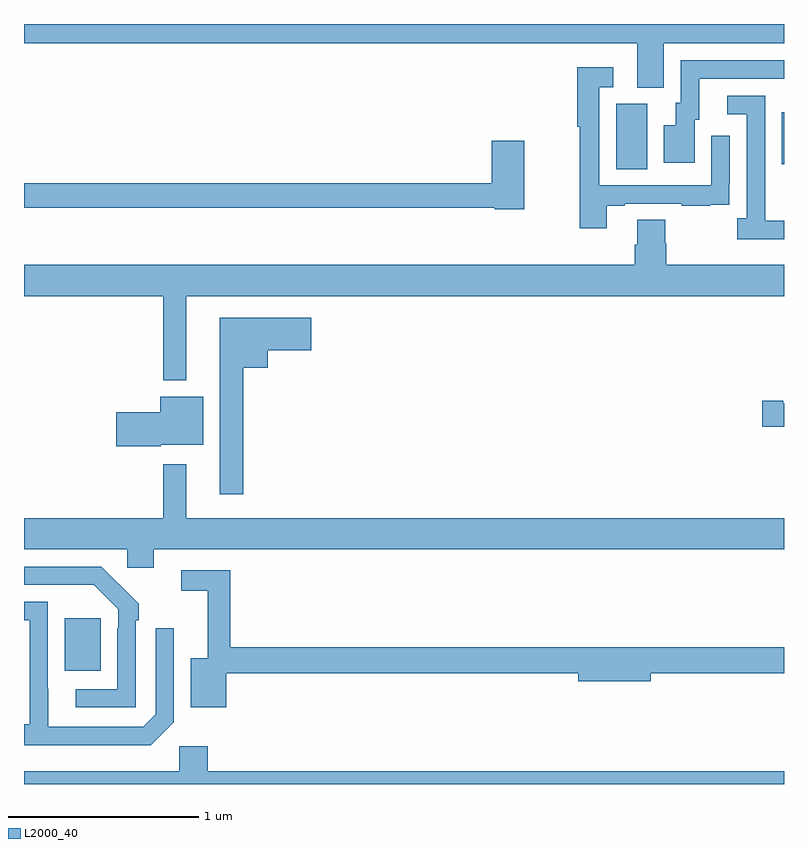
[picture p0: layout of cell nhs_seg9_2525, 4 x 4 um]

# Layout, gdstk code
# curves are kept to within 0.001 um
import gdstk
lib = gdstk.Library(unit=1e-6, precision=1e-09)
def R(c, l, rs):  # rectangles x0, y0, x1, y1
    for r in rs: c.add(gdstk.rectangle(r[:2], r[2:], *l))
def P(c, l, *ps):  # polygons
    for p in ps: c.add(gdstk.Polygon(p, *l))
L2000_40 = (2000, 40)

nhs_seg9_2525 = lib.new_cell('nhs_seg9_2525')
R(nhs_seg9_2525, L2000_40, [(255.215,1213.097,255.403,1213.372), (258.116,1215.736,258.28,1216.08), (258.989,1215.761,259,1216.036)])
P(nhs_seg9_2525, L2000_40, [(258.367,1216.4),(259,1216.4),(259,1216.5),(255,1216.5),(255,1216.4),(258.227,1216.4),(258.227,1216.165),(258.367,1216.165)],
  [(258.529,1215.996),(258.553,1215.996),(258.553,1216.212),(259,1216.212),(259,1216.308),(258.456,1216.308),(258.456,1216.086),(258.431,1216.086),(258.431,1215.967),(258.368,1215.967),(258.368,1215.771),(258.529,1215.771)],
  [(258.067,1215.543),(258.163,1215.543),(258.163,1215.555),(258.463,1215.555),(258.463,1215.543),(258.611,1215.543),(258.611,1215.549),(258.713,1215.549),(258.713,1215.658),(258.714,1215.658),(258.714,1215.913),(258.618,1215.913),(258.618,1215.651),(258.027,1215.651),(258.027,1216.167),(258.1,1216.167),(258.1,1216.273),(257.911,1216.273),(257.911,1215.96),(257.926,1215.96),(257.926,1215.426),(258.067,1215.426)],
  [(259,1215.465),(258.901,1215.465),(258.901,1215.665),(258.9,1215.665),(258.9,1216.122),(258.702,1216.122),(258.702,1216.026),(258.804,1216.026),(258.804,1215.478),(258.753,1215.478),(258.753,1215.368),(259,1215.368)],
  [(257.632,1215.886),(257.462,1215.886),(257.462,1215.662),(255,1215.662),(255,1215.534),(257.478,1215.534),(257.478,1215.526),(257.632,1215.526)],
  [(255.853,1215.068),(259,1215.068),(259,1215.232),(258.38,1215.232),(258.38,1215.345),(258.375,1215.345),(258.375,1215.47),(258.227,1215.47),(258.227,1215.338),(258.215,1215.338),(258.215,1215.232),(255,1215.232),(255,1215.068),(255.732,1215.068),(255.732,1214.624),(255.853,1214.624)],
  [(256.153,1214.69),(256.282,1214.69),(256.282,1214.783),(256.513,1214.783),(256.513,1214.953),(256.031,1214.953),(256.031,1214.025),(256.153,1214.025)],
  [(255.72,1214.285),(255.943,1214.285),(255.943,1214.539),(255.716,1214.539),(255.716,1214.456),(255.486,1214.456),(255.486,1214.278),(255.72,1214.278)],
  [(259,1214.503),(258.997,1214.503),(258.997,1214.516),(258.885,1214.516),(258.885,1214.381),(259,1214.381)],
  [(259,1213.9),(255.853,1213.9),(255.853,1214.182),(255.732,1214.182),(255.732,1213.9),(255,1213.9),(255,1213.736),(255.543,1213.736),(255.543,1213.638),(255.682,1213.638),(255.682,1213.736),(259,1213.736)],
  [(255.588,1213.361),(255.603,1213.361),(255.603,1213.449),(255.406,1213.644),(255,1213.644),(255,1213.548),(255.367,1213.548),(255.495,1213.419),(255.495,1213.319),(255.492,1213.319),(255.492,1212.999),(255.273,1212.999),(255.273,1212.903),(255.588,1212.903)],
  [(256.065,1213.084),(257.918,1213.084),(257.918,1213.042),(258.298,1213.042),(258.298,1213.084),(259,1213.084),(259,1213.22),(256.085,1213.22),(256.085,1213.626),(255.828,1213.626),(255.828,1213.518),(255.968,1213.518),(255.968,1213.162),(255.878,1213.162),(255.878,1212.905),(256.065,1212.905)],
  [(255.789,1212.825),(255.789,1213.321),(255.693,1213.321),(255.693,1212.867),(255.627,1212.801),(255.127,1212.801),(255.126,1213.458),(255,1213.458),(255,1213.362),(255.03,1213.362),(255.03,1212.814),(255,1212.814),(255,1212.704),(255.668,1212.704)],
  [(259,1212.568),(255.968,1212.568),(255.968,1212.7),(255.816,1212.7),(255.816,1212.568),(255,1212.568),(255,1212.5),(259,1212.5)])

lib.write_gds('nhs_seg9_2525.gds')
